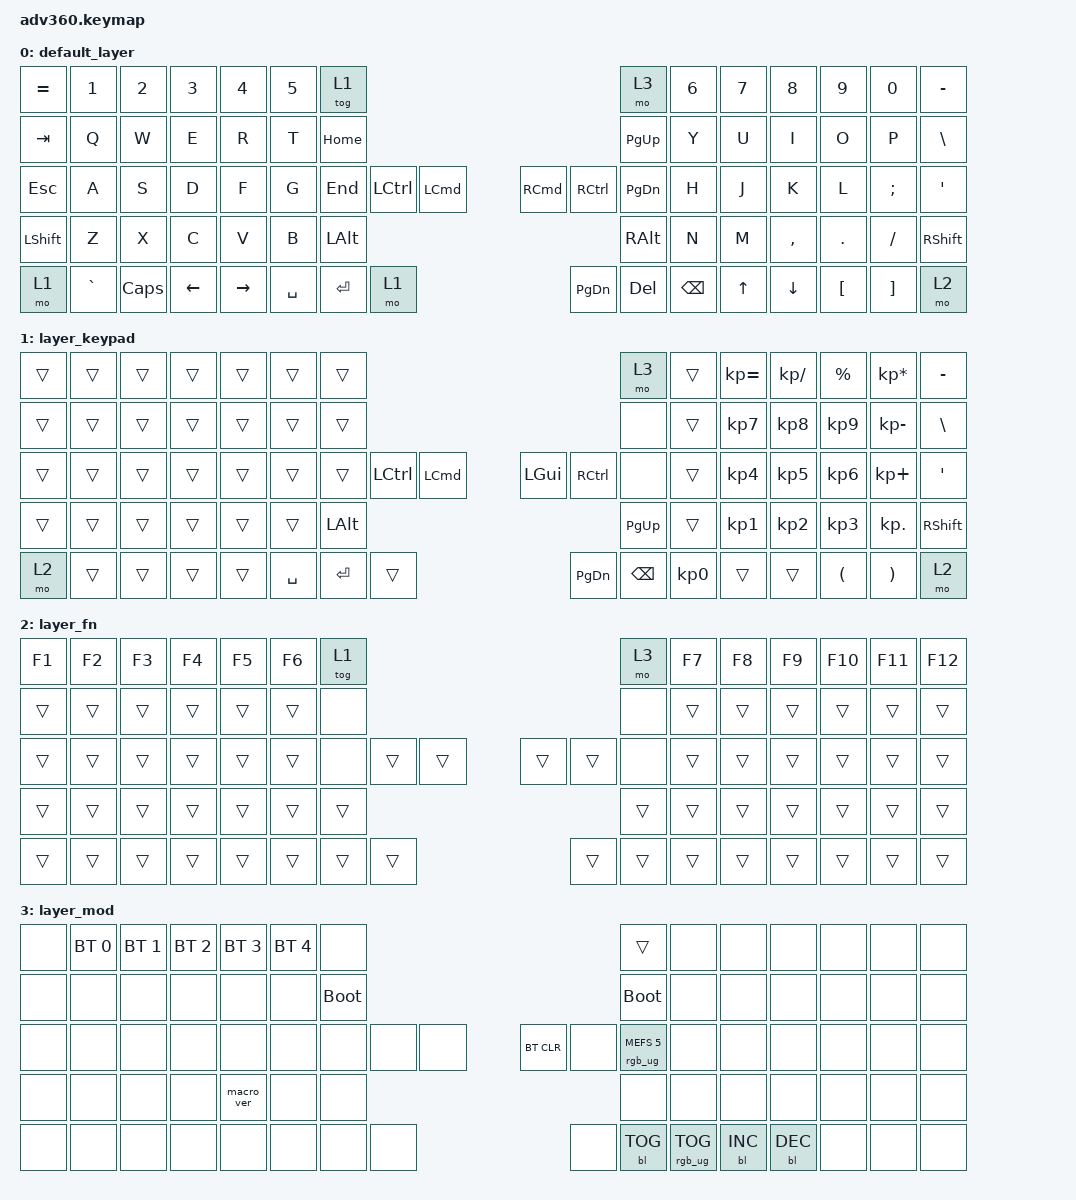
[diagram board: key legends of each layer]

/*
 * Copyright (c) 2020 The ZMK Contributors
 *
 * SPDX-License-Identifier: MIT
 */


/* THIS FILE WAS GENERATED!
 *
 * This file was generated automatically. You may or may not want to
 * edit it directly.
 */

#include <behaviors.dtsi>
#include <dt-bindings/zmk/keys.h>
#include <dt-bindings/zmk/bt.h>
#include <dt-bindings/zmk/rgb.h>
#include <dt-bindings/zmk/backlight.h>

/ {
  behaviors {
    #include "macros.dtsi"
    #include "version.dtsi"

    hm: homerow_mods {
        compatible = "zmk,behavior-hold-tap";
        label = "HOMEROW_MODS";
        #binding-cells = <2>;
        tapping-term-ms = <200>;
        quick_tap_ms = <175>;
        flavor = "tap-preferred";
        bindings = <&kp>, <&kp>;
    };
  };

    keymap {
        compatible = "zmk,keymap";


        default_layer {
            bindings = <
 &kp EQUAL     &kp N1    &kp N2    &kp N3     &kp N4  &kp N5               &tog 1                                                                         &mo 3  &kp N6  &kp N7     &kp N8    &kp N9    &kp N0  &kp MINUS
   &kp TAB      &kp Q     &kp W     &kp E      &kp R   &kp T             &kp HOME                                                                     &kp PG_UP   &kp Y   &kp U      &kp I     &kp O     &kp P   &kp BSLH
   &kp ESC      &kp A     &kp S     &kp D      &kp F   &kp G              &kp END  &kp LCTRL      &kp LCMD                   &kp RCMD  &kp RCTRL      &kp PG_DN   &kp H   &kp J      &kp K     &kp L  &kp SEMI    &kp SQT
 &kp LSHFT      &kp Z     &kp X     &kp C      &kp V   &kp B                                  &kp LEFT_ALT                   &kp RALT                             &kp N   &kp M  &kp COMMA   &kp DOT  &kp FSLH  &kp RSHFT
     &mo 1  &kp GRAVE  &kp CAPS  &kp LEFT  &kp RIGHT                    &kp SPACE  &kp ENTER         &mo 1                  &kp PG_DN    &kp DEL  &kp BACKSPACE          &kp UP   &kp DOWN  &kp LBKT  &kp RBKT      &mo 2
            >;
        };

        layer_keypad {
            bindings = <
 &trans  &trans  &trans  &trans  &trans  &trans               &trans                                                                     &mo 3  &trans  &kp KP_EQUAL  &kp KP_SLASH             &kp PRCNT        &kp KP_MULTIPLY  &kp MINUS
 &trans  &trans  &trans  &trans  &trans  &trans               &trans                                                                     &none  &trans     &kp KP_N7     &kp KP_N8             &kp KP_N9           &kp KP_MINUS   &kp BSLH
 &trans  &trans  &trans  &trans  &trans  &trans               &trans  &kp LCTRL  &kp LCMD                   &kp LGUI      &kp RCTRL      &none  &trans     &kp KP_N4     &kp KP_N5             &kp KP_N6            &kp KP_PLUS    &kp SQT
 &trans  &trans  &trans  &trans  &trans  &trans                                  &kp LALT                  &kp PG_UP                            &trans     &kp KP_N1     &kp KP_N2             &kp KP_N3             &kp KP_DOT  &kp RSHFT
  &mo 2  &trans  &trans  &trans  &trans                    &kp SPACE  &kp ENTER    &trans                  &kp PG_DN  &kp BACKSPACE  &kp KP_N0                &trans        &trans  &kp LEFT_PARENTHESIS  &kp RIGHT_PARENTHESIS      &mo 2
            >;
        };

        layer_fn {
            bindings = <
 &kp F1  &kp F2  &kp F3  &kp F4  &kp F5  &kp F6            &tog 1                                                   &mo 3  &kp F7  &kp F8  &kp F9  &kp F10  &kp F11  &kp F12
 &trans  &trans  &trans  &trans  &trans  &trans             &none                                                   &none  &trans  &trans  &trans   &trans   &trans   &trans
 &trans  &trans  &trans  &trans  &trans  &trans             &none  &trans  &trans                  &trans  &trans   &none  &trans  &trans  &trans   &trans   &trans   &trans
 &trans  &trans  &trans  &trans  &trans  &trans                            &trans                  &trans                  &trans  &trans  &trans   &trans   &trans   &trans
 &trans  &trans  &trans  &trans  &trans                    &trans  &trans  &trans                  &trans  &trans  &trans          &trans  &trans   &trans   &trans   &trans
            >;
        };

        layer_mod {
            bindings = <
  &none  &bt BT_SEL 0  &bt BT_SEL 1  &bt BT_SEL 2  &bt BT_SEL 3  &bt BT_SEL 4                  &none                                                                          &trans   &none       &none       &none   &none   &none   &none
  &none         &none         &none         &none         &none         &none            &bootloader                                                                     &bootloader   &none       &none       &none   &none   &none   &none
  &none         &none         &none         &none         &none         &none                  &none   &none   &none                  &bt BT_CLR       &none  &rgb_ug RGB_MEFS_CMD 5   &none       &none       &none   &none   &none   &none
  &none         &none         &none         &none    &macro_ver         &none                                  &none                       &none                                       &none       &none       &none   &none   &none   &none
  &none         &none         &none         &none         &none                                &none   &none   &none                       &none  &bl BL_TOG         &rgb_ug RGB_TOG          &bl BL_INC  &bl BL_DEC   &none   &none   &none
            >;
        };

    };
};
